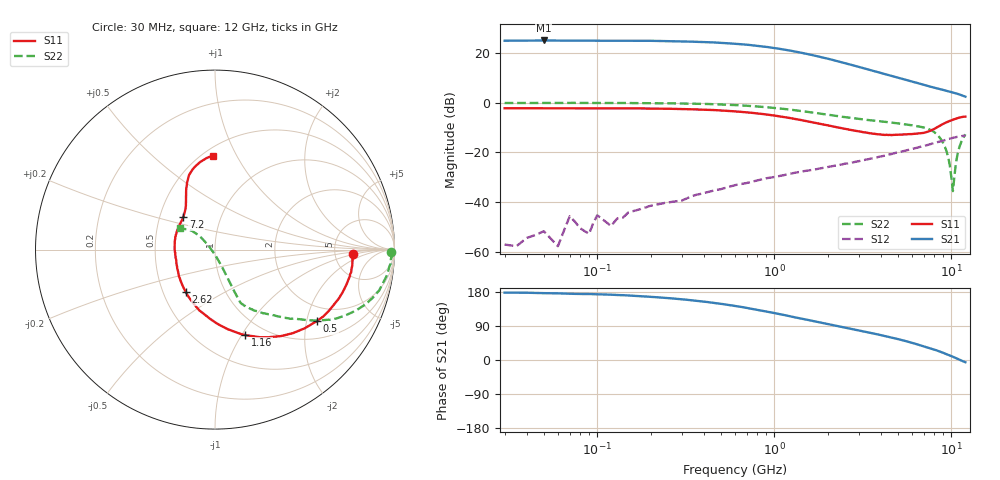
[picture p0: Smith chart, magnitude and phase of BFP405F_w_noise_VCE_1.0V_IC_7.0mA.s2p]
! Infineon Technologies  Discrete & RF Semiconductors
! BFP405F
! VCE =  1.0 V,  IC =  7.0 mA
! Common Emitter S-Parameters:  Nov 2015
# GHz  S  MA  R  50
!  f  S11  S21  S12  S22
! GHz  MAG  ANG  MAG  ANG  MAG  ANG  MAG  ANG
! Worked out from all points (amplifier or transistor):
!   239 points, 30 MHz to 12 GHz, reference 50 ohm
!   highest |S21| = 25.0 dB at 50 MHz (marker M1)
!   |S21| within 3 dB of that: start of sweep to 991.4 MHz
!   unconditionally stable (mu >= 1): 2.466 GHz to end of sweep
!   at 300 MHz: K = 0.20, MSG = 32.0 dB, |S12| = -39.4 dB
!   at 1.88 GHz: K = 0.82, MSG = 22.2 dB, |S12| = -26.3 dB
!   at 12 GHz: K = 1.43, MAG = 3.9 dB, |S12| = -13.2 dB
!   lowest NFmin = 1.45 dB at 450 MHz
!   S11 on the Smith chart (normalised r, x): 30 MHz: 7.52, -0.99; 500 MHz: 1.51, -2.31; 1.16 GHz: 0.81, -1.04; 2.62 GHz: 0.65, -0.34; 7.2 GHz: 0.66, +0.26; 12 GHz: 0.56, +0.80
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0.03  0.7689 -2.0  17.47 177.8  0.0014 -177.2  0.9788 -0.9
0.05  0.7681 -4.1  17.69 176.4  0.0026 131.4  0.9829 -1.3
0.06  0.7684 -4.1  17.55 175.9  0.0013 171.8  0.9804 -1.7
0.07  0.7688 -5.4  17.56 174.8  0.0052 85.0  0.9854 -2.5
0.085  0.7697 -6.3  17.52 174.1  0.0026 101.5  0.9819 -2.9
0.1  0.7691 -7.4  17.46 173.5  0.0054 75.3  0.982 -3.7
0.14  0.7655 -10.2  17.49 171.1  0.0049 97.9  0.9794 -5.0
0.24  0.7522 -17.4  17.19 164.1  0.0096 86.0  0.9674 -8.6
0.36  0.7279 -25.7  16.64 156.5  0.0139 80.9  0.9472 -12.8
0.5  0.6941 -34.9  15.85 148.2  0.0182 76.6  0.9163 -17.3
0.6  0.6652 -41.2  15.19 142.5  0.0219 72.7  0.8912 -20.1
0.9  0.5766 -57.9  13.16 128.0  0.0301 67.6  0.807 -27.3
1.16  0.505 -70.5  11.47 117.9  0.0354 63.9  0.738 -32.0
1.64  0.4023 -90.5  8.99 103.3  0.0443 60.5  0.6319 -38.2
2.08  0.3393 -107.1  7.368 93.2  0.0519 58.4  0.5602 -43.1
2.62  0.2871 -124.6  5.932 83.7  0.0601 56.9  0.4985 -47.6
4.5  0.2237 -172.4  3.49 60.4  0.0913 52.2  0.4009 -57.5
7.2  0.2532 134.3  2.204 34.2  0.1376 42.4  0.304 -64.7
9.2  0.388 114.0  1.753 17.2  0.1764 32.8  0.128 -66.9
10.2  0.4518 107.4  1.595 8.6  0.1953 27.0  0.0166 -147.8
10.8  0.484 101.7  1.503 3.2  0.2047 23.2  0.0866 140.1
12  0.5212 91.5  1.312 -5.9  0.2183 17.4  0.2302 149.1
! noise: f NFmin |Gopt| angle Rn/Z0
0.45  1.45  0.3  6  0.34
0.9  1.46  0.28  11  0.34
1.5  1.52  0.26  16  0.3
1.9  1.56  0.24  24  0.3
2.4  1.71  0.23  32  0.32
3  1.77  0.21  45  0.29
3.5  1.82  0.19  53  0.28
4.5  1.97  0.15  59  0.2
5.5  2.17  0.08  66  0.07
